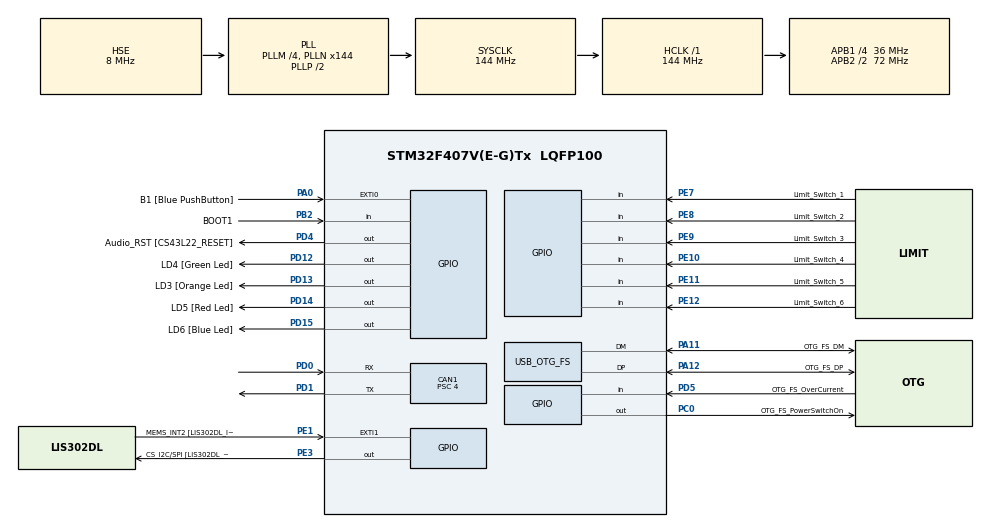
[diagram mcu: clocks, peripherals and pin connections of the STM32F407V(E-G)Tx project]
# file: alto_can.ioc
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CAN1.BS1=CAN_BS1_15TQ
CAN1.BS2=CAN_BS2_2TQ
CAN1.CalculateBaudRate=500000
CAN1.CalculateTimeBit=2000
CAN1.CalculateTimeQuantum=111.11111111111111
CAN1.Prescaler=4
FREERTOS.Tasks01=Master_Task,0,3000,Start_Master_Task,Default,NULL,Dynamic,NULL,NULL
FREERTOS.configENABLE_FPU=1
FREERTOS.configUSE_NEWLIB_REENTRANT=1
Mcu.Family=STM32F4
Mcu.Name=STM32F407V(E-G)Tx
Mcu.Package=LQFP100
NVIC.CAN1_RX0_IRQn=true\:5\:0\:false\:false\:true\:true\:true\:true\:true
NVIC.OTG_FS_IRQn=true\:5\:0\:false\:false\:true\:true\:true\:true\:true
NVIC.PriorityGroup=NVIC_PRIORITYGROUP_4
NVIC.TIM1_UP_TIM10_IRQn=true\:15\:0\:false\:false\:true\:false\:false\:true\:true
NVIC.TimeBase=TIM1_UP_TIM10_IRQn
NVIC.TimeBaseIP=TIM1
PA0-WKUP.GPIO_Label=B1 [Blue PushButton]
PA0-WKUP.Signal=GPXTI0
PA10.GPIO_Label=OTG_FS_ID
PA10.GPIO_Mode=GPIO_MODE_AF_PP
PA10.GPIO_PuPd=GPIO_NOPULL
PA10.GPIO_Speed=GPIO_SPEED_FREQ_LOW
PA10.Signal=USB_OTG_FS_ID
PA11.GPIO_Label=OTG_FS_DM
PA11.GPIO_Mode=GPIO_MODE_AF_PP
PA11.GPIO_PuPd=GPIO_NOPULL
PA11.GPIO_Speed=GPIO_SPEED_FREQ_LOW
PA11.Mode=Device_Only
PA11.Signal=USB_OTG_FS_DM
PA12.GPIO_Label=OTG_FS_DP
PA12.GPIO_Mode=GPIO_MODE_AF_PP
PA12.GPIO_PuPd=GPIO_NOPULL
PA12.GPIO_Speed=GPIO_SPEED_FREQ_LOW
PA12.Mode=Device_Only
PA12.Signal=USB_OTG_FS_DP
PA13.GPIO_Label=SWDIO
PA13.Signal=SYS_JTMS-SWDIO
PA14.GPIO_Label=SWCLK
PA14.Signal=SYS_JTCK-SWCLK
PA4.GPIO_Label=I2S3_WS [CS43L22_LRCK]
PA4.GPIO_Mode=GPIO_MODE_AF_PP
PA4.GPIO_PuPd=GPIO_NOPULL
PA4.GPIO_Speed=GPIO_SPEED_FREQ_LOW
PA4.Signal=I2S3_WS
PA5.GPIO_Label=SPI1_SCK [LIS302DL_SCL/SPC]
PA5.GPIO_Mode=GPIO_MODE_AF_PP
PA5.GPIO_PuPd=GPIO_NOPULL
PA5.GPIO_Speed=GPIO_SPEED_FREQ_LOW
PA5.Signal=SPI1_SCK
PA6.GPIO_Label=SPI1_MISO [LIS302DL_SDO]
PA6.GPIO_Mode=GPIO_MODE_AF_PP
PA6.GPIO_PuPd=GPIO_NOPULL
PA6.GPIO_Speed=GPIO_SPEED_FREQ_LOW
PA6.Signal=SPI1_MISO
PA7.GPIO_Label=SPI1_MOSI [LIS302DL_SDA/SDI/SDO]
PA7.GPIO_Mode=GPIO_MODE_AF_PP
PA7.GPIO_PuPd=GPIO_NOPULL
PA7.GPIO_Speed=GPIO_SPEED_FREQ_LOW
PA7.Signal=SPI1_MOSI
PA9.GPIO_Label=VBUS_FS
PA9.GPIO_Mode=GPIO_MODE_INPUT
PA9.GPIO_PuPd=GPIO_NOPULL
PA9.Signal=USB_OTG_FS_VBUS
PB10.GPIO_Label=CLK_IN [MP45DT02_CLK]
PB10.GPIO_Mode=GPIO_MODE_AF_PP
PB10.GPIO_PuPd=GPIO_NOPULL
PB10.GPIO_Speed=GPIO_SPEED_FREQ_LOW
PB10.Signal=I2S2_CK
PB2.GPIO_Label=BOOT1
PB2.GPIO_Mode=GPIO_MODE_INPUT
PB2.GPIO_PuPd=GPIO_NOPULL
PB2.Signal=GPIO_Input
PB3.GPIO_Label=SWO
PB3.Signal=SYS_JTDO-SWO
PB6.GPIO_Label=Audio_SCL [CS43L22_SCL]
PB6.GPIO_Mode=GPIO_MODE_AF_OD
PB6.GPIO_PuPd=GPIO_NOPULL
PB6.GPIO_Speed=GPIO_SPEED_FREQ_LOW
PB6.Signal=I2C1_SCL
PB9.GPIO_Label=Audio_SDA [CS43L22_SDA]
PB9.GPIO_Mode=GPIO_MODE_AF_OD
PB9.GPIO_PuPd=GPIO_NOPULL
PB9.GPIO_Speed=GPIO_SPEED_FREQ_LOW
PB9.Signal=I2C1_SDA
PC0.GPIO_Label=OTG_FS_PowerSwitchOn
PC0.GPIO_PuPd=GPIO_NOPULL
PC0.GPIO_Speed=GPIO_SPEED_FREQ_LOW
PC0.PinState=GPIO_PIN_SET
PC0.Signal=GPIO_Output
PC10.GPIO_Label=I2S3_SCK [CS43L22_SCLK]
PC10.GPIO_Mode=GPIO_MODE_AF_PP
PC10.GPIO_PuPd=GPIO_NOPULL
PC10.GPIO_Speed=GPIO_SPEED_FREQ_LOW
PC10.Signal=I2S3_CK
PC12.GPIO_Label=I2S3_SD [CS43L22_SDIN]
PC12.GPIO_Mode=GPIO_MODE_AF_PP
PC12.GPIO_PuPd=GPIO_NOPULL
PC12.GPIO_Speed=GPIO_SPEED_FREQ_LOW
PC12.Signal=I2S3_SD
PC14-OSC32_IN.GPIO_Label=PC14-OSC32_IN
PC14-OSC32_IN.Signal=RCC_OSC32_IN
PC15-OSC32_OUT.GPIO_Label=PC15-OSC32_OUT
PC15-OSC32_OUT.Signal=RCC_OSC32_OUT
PC3.GPIO_Label=PDM_OUT [MP45DT02_DOUT]
PC3.GPIO_Mode=GPIO_MODE_AF_PP
PC3.GPIO_PuPd=GPIO_NOPULL
PC3.GPIO_Speed=GPIO_SPEED_FREQ_LOW
PC3.Signal=I2S2_SD
PC7.GPIO_Label=I2S3_MCK [CS43L22_MCLK]
PC7.GPIO_Mode=GPIO_MODE_AF_PP
PC7.GPIO_PuPd=GPIO_NOPULL
PC7.GPIO_Speed=GPIO_SPEED_FREQ_LOW
PC7.Signal=I2S3_MCK
PD0.Mode=CAN_Activate
PD0.Signal=CAN1_RX
PD1.Mode=CAN_Activate
PD1.Signal=CAN1_TX
PD12.GPIO_Label=LD4 [Green Led]
PD12.GPIO_PuPd=GPIO_NOPULL
PD12.GPIO_Speed=GPIO_SPEED_FREQ_LOW
PD12.Signal=GPIO_Output
PD13.GPIO_Label=LD3 [Orange Led]
PD13.GPIO_PuPd=GPIO_NOPULL
PD13.GPIO_Speed=GPIO_SPEED_FREQ_LOW
PD13.Signal=GPIO_Output
PD14.GPIO_Label=LD5 [Red Led]
PD14.GPIO_PuPd=GPIO_NOPULL
PD14.GPIO_Speed=GPIO_SPEED_FREQ_LOW
PD14.Signal=GPIO_Output
PD15.GPIO_Label=LD6 [Blue Led]
PD15.GPIO_PuPd=GPIO_NOPULL
PD15.GPIO_Speed=GPIO_SPEED_FREQ_LOW
PD15.Signal=GPIO_Output
PD4.GPIO_Label=Audio_RST [CS43L22_RESET]
PD4.GPIO_PuPd=GPIO_NOPULL
PD4.GPIO_Speed=GPIO_SPEED_FREQ_LOW
PD4.Signal=GPIO_Output
PD5.GPIO_Label=OTG_FS_OverCurrent
PD5.GPIO_Mode=GPIO_MODE_INPUT
PD5.GPIO_PuPd=GPIO_NOPULL
PD5.Signal=GPIO_Input
PE1.GPIO_Label=MEMS_INT2 [LIS302DL_INT2]
PE1.GPIO_ModeDefaultEXTI=GPIO_MODE_EVT_RISING
PE1.GPIO_PuPd=GPIO_NOPULL
PE1.Signal=GPXTI1
PE10.GPIO_Label=Limit_Switch_4
PE10.GPIO_PuPd=GPIO_PULLUP
PE10.Signal=GPIO_Input
PE11.GPIO_Label=Limit_Switch_5
PE11.GPIO_PuPd=GPIO_PULLUP
PE11.Signal=GPIO_Input
PE12.GPIO_Label=Limit_Switch_6
PE12.GPIO_PuPd=GPIO_PULLUP
PE12.Signal=GPIO_Input
PE3.GPIO_Label=CS_I2C/SPI [LIS302DL_CS_I2C/SPI]
PE3.GPIO_PuPd=GPIO_NOPULL
PE3.GPIO_Speed=GPIO_SPEED_FREQ_LOW
PE3.Signal=GPIO_Output
PE7.GPIO_Label=Limit_Switch_1
PE7.GPIO_PuPd=GPIO_PULLUP
PE7.Signal=GPIO_Input
PE8.GPIO_Label=Limit_Switch_2
PE8.GPIO_PuPd=GPIO_PULLUP
PE8.Signal=GPIO_Input
PE9.GPIO_Label=Limit_Switch_3
PE9.GPIO_PuPd=GPIO_PULLUP
PE9.Signal=GPIO_Input
PH0-OSC_IN.GPIO_Label=PH0-OSC_IN
PH0-OSC_IN.Mode=HSE-External-Oscillator
PH0-OSC_IN.Signal=RCC_OSC_IN
PH1-OSC_OUT.GPIO_Label=PH1-OSC_OUT
PH1-OSC_OUT.Mode=HSE-External-Oscillator
PH1-OSC_OUT.Signal=RCC_OSC_OUT
ProjectManager.HeapSize=0x200
ProjectManager.StackSize=0x400
ProjectManager.TargetToolchain=STM32CubeIDE
RCC.48MHZClocksFreq_Value=48000000
RCC.AHBFreq_Value=144000000
RCC.APB1CLKDivider=RCC_HCLK_DIV4
RCC.APB1Freq_Value=36000000
RCC.APB1TimFreq_Value=72000000
RCC.APB2CLKDivider=RCC_HCLK_DIV2
RCC.APB2Freq_Value=72000000
RCC.APB2TimFreq_Value=144000000
RCC.CortexFreq_Value=144000000
RCC.HCLKFreq_Value=144000000
RCC.HSE_VALUE=8000000
RCC.HSI_VALUE=16000000
RCC.LSE_VALUE=32768
RCC.PLLM=4
RCC.PLLN=144
RCC.PLLQ=6
RCC.SYSCLKFreq_VALUE=144000000
RCC.SYSCLKSource=RCC_SYSCLKSOURCE_PLLCLK
RCC.VCOOutputFreq_Value=288000000
USB_DEVICE.CLASS_NAME_FS=CDC
USB_DEVICE.PID_CDC_FS=22330
USB_DEVICE.VirtualMode-CDC_FS=Cdc
USB_DEVICE.VirtualModeFS=Cdc_FS
USB_OTG_FS.VirtualMode=Device_Only
VP_FREERTOS_VS_CMSIS_V1.Mode=CMSIS_V1
VP_SYS_VS_tim1.Mode=TIM1
VP_USB_DEVICE_VS_USB_DEVICE_CDC_FS.Mode=CDC_FS
board=STM32F407G-DISC1

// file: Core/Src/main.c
/* USER CODE BEGIN Header */
/**
  ******************************************************************************
  * @file           : main.c
  * @brief          : Main program body
  ******************************************************************************
  * @attention
  *
  * Copyright (c) 2023 STMicroelectronics.
  * All rights reserved.
  *
  * This software is licensed under terms that can be found in the LICENSE file
  * in the root directory of this software component.
  * If no LICENSE file comes with this software, it is provided AS-IS.
  *
  ******************************************************************************
  */
/* USER CODE END Header */
#include "main.h"
#include "cmsis_os.h"
#include "usb_device.h"

/* USER CODE BEGIN Includes */
#include "robot_behavior.h"
/* USER CODE END Includes */

CAN_HandleTypeDef hcan1;

osThreadId Master_TaskHandle;

void SystemClock_Config(void);
static void MX_GPIO_Init(void);
static void MX_CAN1_Init(void);
void Start_Master_Task(void const * argument);

int main(void)
{

  /* MCU Configuration--------------------------------------------------------*/

  /* Reset of all peripherals, Initializes the Flash interface and the Systick. */
  HAL_Init();

  /* Configure the system clock */
  SystemClock_Config();

  /* Initialize all configured peripherals */
  MX_GPIO_Init();
  MX_CAN1_Init();
  /* USER CODE BEGIN 2 */
  Robot_Config_Init(&Alto);
  Emm_Request_Handle_Init(&Emm_Request_Handle);

  if(HAL_CAN_Start(&hcan1) != HAL_OK)
	Error_Handler();

  if(HAL_CAN_ActivateNotification(&hcan1, CAN_IT_RX_FIFO0_MSG_PENDING) != HAL_OK)
	Error_Handler();
  /* USER CODE END 2 */

  /* Create the thread(s) */
  /* definition and creation of Master_Task */
  osThreadDef(Master_Task, Start_Master_Task, osPriorityNormal, 0, 256);
  Master_TaskHandle = osThreadCreate(osThread(Master_Task), NULL);

  /* Start scheduler */
  osKernelStart();

  /* We should never get here as control is now taken by the scheduler */
  /* Infinite loop */
  while (1)
  {

  }
}

void SystemClock_Config(void)
{
  RCC_OscInitTypeDef RCC_OscInitStruct = {0};
  RCC_ClkInitTypeDef RCC_ClkInitStruct = {0};

  /** Configure the main internal regulator output voltage
  */
  __HAL_RCC_PWR_CLK_ENABLE();
  __HAL_PWR_VOLTAGESCALING_CONFIG(PWR_REGULATOR_VOLTAGE_SCALE1);

  /** Initializes the RCC Oscillators according to the specified parameters
  * in the RCC_OscInitTypeDef structure.
  */
  RCC_OscInitStruct.OscillatorType = RCC_OSCILLATORTYPE_HSE;
  RCC_OscInitStruct.HSEState = RCC_HSE_ON;
  RCC_OscInitStruct.PLL.PLLState = RCC_PLL_ON;
  RCC_OscInitStruct.PLL.PLLSource = RCC_PLLSOURCE_HSE;
  RCC_OscInitStruct.PLL.PLLM = 4;
  RCC_OscInitStruct.PLL.PLLN = 144;
  RCC_OscInitStruct.PLL.PLLP = RCC_PLLP_DIV2;
  RCC_OscInitStruct.PLL.PLLQ = 6;
  if (HAL_RCC_OscConfig(&RCC_OscInitStruct) != HAL_OK)
  {
    Error_Handler();
  }

  /** Initializes the CPU, AHB and APB buses clocks
  */
  RCC_ClkInitStruct.ClockType = RCC_CLOCKTYPE_HCLK|RCC_CLOCKTYPE_SYSCLK
                              |RCC_CLOCKTYPE_PCLK1|RCC_CLOCKTYPE_PCLK2;
  RCC_ClkInitStruct.SYSCLKSource = RCC_SYSCLKSOURCE_PLLCLK;
  RCC_ClkInitStruct.AHBCLKDivider = RCC_SYSCLK_DIV1;
  RCC_ClkInitStruct.APB1CLKDivider = RCC_HCLK_DIV4;
  RCC_ClkInitStruct.APB2CLKDivider = RCC_HCLK_DIV2;

  if (HAL_RCC_ClockConfig(&RCC_ClkInitStruct, FLASH_LATENCY_4) != HAL_OK)
  {
    Error_Handler();
  }
}

static void MX_CAN1_Init(void)
{

  hcan1.Instance = CAN1;
  hcan1.Init.Prescaler = 4;
  hcan1.Init.Mode = CAN_MODE_NORMAL;
  hcan1.Init.SyncJumpWidth = CAN_SJW_1TQ;
  hcan1.Init.TimeSeg1 = CAN_BS1_15TQ;
  hcan1.Init.TimeSeg2 = CAN_BS2_2TQ;
  hcan1.Init.TimeTriggeredMode = DISABLE;
  hcan1.Init.AutoBusOff = DISABLE;
  hcan1.Init.AutoWakeUp = DISABLE;
  hcan1.Init.AutoRetransmission = DISABLE;
  hcan1.Init.ReceiveFifoLocked = DISABLE;
  hcan1.Init.TransmitFifoPriority = DISABLE;
  if (HAL_CAN_Init(&hcan1) != HAL_OK)
  {
    Error_Handler();
  }
  /* USER CODE BEGIN CAN1_Init 2 */
  CAN_FilterTypeDef canfil;
  canfil.FilterBank = 0;
  canfil.FilterMode = CAN_FILTERMODE_IDMASK;
  canfil.FilterFIFOAssignment = CAN_RX_FIFO0;
  canfil.FilterIdHigh = 0;
  canfil.FilterIdLow = 0;
  canfil.FilterMaskIdHigh = 0;
  canfil.FilterMaskIdLow = 0;
  canfil.FilterScale = CAN_FILTERSCALE_32BIT;
  canfil.FilterActivation = ENABLE;
  canfil.SlaveStartFilterBank = 14;

  if(HAL_CAN_ConfigFilter(&hcan1, &canfil) != HAL_OK)
	  Error_Handler();

  /* USER CODE END CAN1_Init 2 */

}

static void MX_GPIO_Init(void)
{
  GPIO_InitTypeDef GPIO_InitStruct = {0};

  /* GPIO Ports Clock Enable */
  __HAL_RCC_GPIOE_CLK_ENABLE();
  __HAL_RCC_GPIOC_CLK_ENABLE();
  __HAL_RCC_GPIOH_CLK_ENABLE();
  __HAL_RCC_GPIOA_CLK_ENABLE();
  __HAL_RCC_GPIOB_CLK_ENABLE();
  __HAL_RCC_GPIOD_CLK_ENABLE();

  /*Configure GPIO pin Output Level */
  HAL_GPIO_WritePin(CS_I2C_SPI_GPIO_Port, CS_I2C_SPI_Pin, GPIO_PIN_RESET);

  /*Configure GPIO pin Output Level */
  HAL_GPIO_WritePin(OTG_FS_PowerSwitchOn_GPIO_Port, OTG_FS_PowerSwitchOn_Pin, GPIO_PIN_SET);

  /*Configure GPIO pin Output Level */
  HAL_GPIO_WritePin(GPIOD, LD4_Pin|LD3_Pin|LD5_Pin|LD6_Pin
                          |Audio_RST_Pin, GPIO_PIN_RESET);

  /*Configure GPIO pin : CS_I2C_SPI_Pin */
  GPIO_InitStruct.Pin = CS_I2C_SPI_Pin;
  GPIO_InitStruct.Mode = GPIO_MODE_OUTPUT_PP;
  GPIO_InitStruct.Pull = GPIO_NOPULL;
  GPIO_InitStruct.Speed = GPIO_SPEED_FREQ_LOW;
  HAL_GPIO_Init(CS_I2C_SPI_GPIO_Port, &GPIO_InitStruct);

  /*Configure GPIO pin : OTG_FS_PowerSwitchOn_Pin */
  GPIO_InitStruct.Pin = OTG_FS_PowerSwitchOn_Pin;
  GPIO_InitStruct.Mode = GPIO_MODE_OUTPUT_PP;
  GPIO_InitStruct.Pull = GPIO_NOPULL;
  GPIO_InitStruct.Speed = GPIO_SPEED_FREQ_LOW;
  HAL_GPIO_Init(OTG_FS_PowerSwitchOn_GPIO_Port, &GPIO_InitStruct);

  /*Configure GPIO pin : PDM_OUT_Pin */
  GPIO_InitStruct.Pin = PDM_OUT_Pin;
  GPIO_InitStruct.Mode = GPIO_MODE_AF_PP;
  GPIO_InitStruct.Pull = GPIO_NOPULL;
  GPIO_InitStruct.Speed = GPIO_SPEED_FREQ_LOW;
  GPIO_InitStruct.Alternate = GPIO_AF5_SPI2;
  HAL_GPIO_Init(PDM_OUT_GPIO_Port, &GPIO_InitStruct);

  /*Configure GPIO pin : B1_Pin */
  GPIO_InitStruct.Pin = B1_Pin;
  GPIO_InitStruct.Mode = GPIO_MODE_IT_RISING;
  GPIO_InitStruct.Pull = GPIO_NOPULL;
  HAL_GPIO_Init(B1_GPIO_Port, &GPIO_InitStruct);

  /*Configure GPIO pin : I2S3_WS_Pin */
  GPIO_InitStruct.Pin = I2S3_WS_Pin;
  GPIO_InitStruct.Mode = GPIO_MODE_AF_PP;
  GPIO_InitStruct.Pull = GPIO_NOPULL;
  GPIO_InitStruct.Speed = GPIO_SPEED_FREQ_LOW;
  GPIO_InitStruct.Alternate = GPIO_AF6_SPI3;
  HAL_GPIO_Init(I2S3_WS_GPIO_Port, &GPIO_InitStruct);

  /*Configure GPIO pins : SPI1_SCK_Pin SPI1_MISO_Pin SPI1_MOSI_Pin */
  GPIO_InitStruct.Pin = SPI1_SCK_Pin|SPI1_MISO_Pin|SPI1_MOSI_Pin;
  GPIO_InitStruct.Mode = GPIO_MODE_AF_PP;
  GPIO_InitStruct.Pull = GPIO_NOPULL;
  GPIO_InitStruct.Speed = GPIO_SPEED_FREQ_LOW;
  GPIO_InitStruct.Alternate = GPIO_AF5_SPI1;
  HAL_GPIO_Init(GPIOA, &GPIO_InitStruct);

  /*Configure GPIO pin : BOOT1_Pin */
  GPIO_InitStruct.Pin = BOOT1_Pin;
  GPIO_InitStruct.Mode = GPIO_MODE_INPUT;
  GPIO_InitStruct.Pull = GPIO_NOPULL;
  HAL_GPIO_Init(BOOT1_GPIO_Port, &GPIO_InitStruct);

  /*Configure GPIO pins : Limit_Switch_1_Pin Limit_Switch_2_Pin Limit_Switch_3_Pin Limit_Switch_4_Pin
                           Limit_Switch_5_Pin Limit_Switch_6_Pin */
  GPIO_InitStruct.Pin = Limit_Switch_1_Pin|Limit_Switch_2_Pin|Limit_Switch_3_Pin|Limit_Switch_4_Pin
                          |Limit_Switch_5_Pin|Limit_Switch_6_Pin;
  GPIO_InitStruct.Mode = GPIO_MODE_INPUT;
  GPIO_InitStruct.Pull = GPIO_PULLUP;
  HAL_GPIO_Init(GPIOE, &GPIO_InitStruct);

  /*Configure GPIO pin : CLK_IN_Pin */
  GPIO_InitStruct.Pin = CLK_IN_Pin;
  GPIO_InitStruct.Mode = GPIO_MODE_AF_PP;
  GPIO_InitStruct.Pull = GPIO_NOPULL;
  GPIO_InitStruct.Speed = GPIO_SPEED_FREQ_LOW;
  GPIO_InitStruct.Alternate = GPIO_AF5_SPI2;
  HAL_GPIO_Init(CLK_IN_GPIO_Port, &GPIO_InitStruct);

  /*Configure GPIO pins : LD4_Pin LD3_Pin LD5_Pin LD6_Pin
                           Audio_RST_Pin */
  GPIO_InitStruct.Pin = LD4_Pin|LD3_Pin|LD5_Pin|LD6_Pin
                          |Audio_RST_Pin;
  GPIO_InitStruct.Mode = GPIO_MODE_OUTPUT_PP;
  GPIO_InitStruct.Pull = GPIO_NOPULL;
  GPIO_InitStruct.Speed = GPIO_SPEED_FREQ_LOW;
  HAL_GPIO_Init(GPIOD, &GPIO_InitStruct);

  /*Configure GPIO pins : I2S3_MCK_Pin I2S3_SCK_Pin I2S3_SD_Pin */
  GPIO_InitStruct.Pin = I2S3_MCK_Pin|I2S3_SCK_Pin|I2S3_SD_Pin;
  GPIO_InitStruct.Mode = GPIO_MODE_AF_PP;
  GPIO_InitStruct.Pull = GPIO_NOPULL;
  GPIO_InitStruct.Speed = GPIO_SPEED_FREQ_LOW;
  GPIO_InitStruct.Alternate = GPIO_AF6_SPI3;
  HAL_GPIO_Init(GPIOC, &GPIO_InitStruct);

  /*Configure GPIO pin : OTG_FS_OverCurrent_Pin */
  GPIO_InitStruct.Pin = OTG_FS_OverCurrent_Pin;
  GPIO_InitStruct.Mode = GPIO_MODE_INPUT;
  GPIO_InitStruct.Pull = GPIO_NOPULL;
  HAL_GPIO_Init(OTG_FS_OverCurrent_GPIO_Port, &GPIO_InitStruct);

  /*Configure GPIO pins : Audio_SCL_Pin Audio_SDA_Pin */
  GPIO_InitStruct.Pin = Audio_SCL_Pin|Audio_SDA_Pin;
  GPIO_InitStruct.Mode = GPIO_MODE_AF_OD;
  GPIO_InitStruct.Pull = GPIO_NOPULL;
  GPIO_InitStruct.Speed = GPIO_SPEED_FREQ_LOW;
  GPIO_InitStruct.Alternate = GPIO_AF4_I2C1;
  HAL_GPIO_Init(GPIOB, &GPIO_InitStruct);

  /*Configure GPIO pin : MEMS_INT2_Pin */
  GPIO_InitStruct.Pin = MEMS_INT2_Pin;
  GPIO_InitStruct.Mode = GPIO_MODE_EVT_RISING;
  GPIO_InitStruct.Pull = GPIO_NOPULL;
  HAL_GPIO_Init(MEMS_INT2_GPIO_Port, &GPIO_InitStruct);

}

/* USER CODE BEGIN 4 */
void HAL_CAN_RxFifo0MsgPendingCallback(CAN_HandleTypeDef *hcan)
{
	Robot_Callback(hcan);
}
/* USER CODE END 4 */

void Start_Master_Task(void const * argument)
{
  /* init code for USB_DEVICE */
  MX_USB_DEVICE_Init();
  /* USER CODE BEGIN 5 */
  /* Infinite loop */
  for(;;)
  {
	  Robot_Master(&hcan1, Data_Temp);

  }
  /* USER CODE END 5 */
}

void HAL_TIM_PeriodElapsedCallback(TIM_HandleTypeDef *htim)
{
  if (htim->Instance == TIM1) {
    HAL_IncTick();
  }
}

void Error_Handler(void)
{
  /* USER CODE BEGIN Error_Handler_Debug */
  /* User can add his own implementation to report the HAL error return state */
  __disable_irq();
  while (1)
  {
	  HAL_GPIO_WritePin(GPIOD, GPIO_PIN_14, SET);
  }
  /* USER CODE END Error_Handler_Debug */
}
